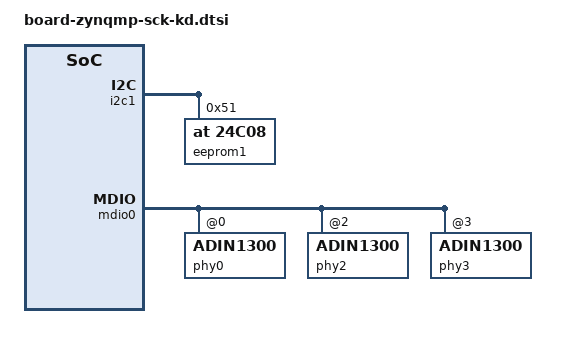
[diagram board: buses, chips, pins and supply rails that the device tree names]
/*
 * ZynqMP KD Carrier card device tree
 *
 * Copyright (c) 2024, Advanced Micro Devices, Inc
 * All rights reserved.
 *
 * SPDX-License-Identifier: BSD-3-Clause
 *
 * KD CC has GEM1, CAN0, USB.
 *
 * GEM0/1/2/3 are connected with DP83867 Eth Phy.
 * eproms need to use blockdev
 * ex:
 *
 * -blockdev node-name=i2c1.eeprom-51,filename=eeprom1.bin,driver=file
 *
 * Not Supported:
 * 	Motor Drive control
 * 	PL Enet
 * 	PMOD
 */

&i2c1 {
	eeprom1: eeprom@51 {
		compatible = "at,24c08";
		reg = <0x51>;
		size = <0x2000>;
		blockdev-node-name = "i2c1.eeprom-51";
	};
	ina260 {
		compatible = "i2c-dev-dummy";
		reg = <0x40>;
	};
	slg7xl45106@0 {
		compatible = "i2c-dev-dummy";
		reg = <0x11>;
	};
	usb5744@0 {
		compatible = "i2c-dev-dummy";
		reg = <0x2d>;
	};
};

&mdio0 {
	/delete-node/ phy@7;
	phy0: phy@0 {
		compatible = "ADIN1300";
		device_type = "ethernet-phy";
	};
	phy2: phy@2 {
		compatible = "ADIN1300";
		device_type = "ethernet-phy";
	};
	phy3: phy@3 {
		compatible = "ADIN1300";
		device_type = "ethernet-phy";
	};
};

&gem0 {
	mdio = <&mdio0>;
};

&gem1 {
	mdio = <&mdio0>;
};

&gem2 {
	mdio = <&mdio0>;
};

&gem3 {
	mdio = <&mdio0>;
};
